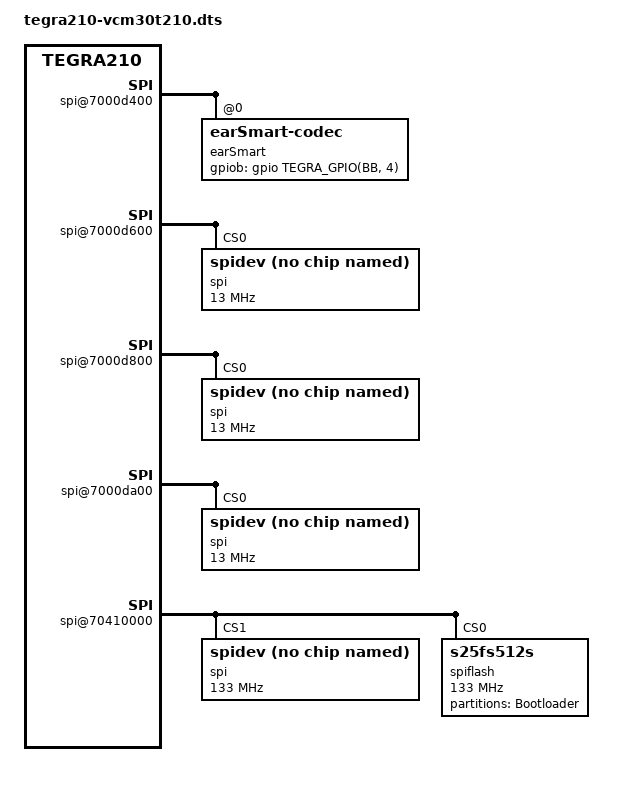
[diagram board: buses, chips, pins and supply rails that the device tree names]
/*
 * T210- DSC
 *
 * arch/arm64/boot/dts/tegra210-vcm30t210.dts
 *
 * Copyright (c) 2014, NVIDIA CORPORATION.  All rights reserved.
 *
 * This program is free software; you can redistribute it and/or modify
 * it under the terms of the GNU General Public License as published by
 * the Free Software Foundation; version 2 of the License.
 *
 * This program is distributed in the hope that it will be useful, but WITHOUT
 * ANY WARRANTY; without even the implied warranty of MERCHANTABILITY or
 * FITNESS FOR A PARTICULAR PURPOSE.  See the GNU General Public License for
 * more details.
 *
 * You should have received a copy of the GNU General Public License along
 * with this program; if not, write to the Free Software Foundation, Inc.,
 * 51 Franklin Street, Fifth Floor, Boston, MA  02110-1301, USA.
 *
 */

#include "tegra210-ers-e2220-1170-a00-00.dts"

/ {
	nvidia,dtsfilename = __FILE__;
	nvidia,fastboot-usb-pid = <0x7100>;

	spi@7000d400 {
		earSmart: earSmart-codec@0 {
			adnc,gpiob-gpio = <&gpio TEGRA_GPIO(BB, 4) GPIO_ACTIVE_HIGH>;
		};
	};

	spi@7000d600 {
		status = "okay";
		spi@0 {
			compatible = "spidev";
			reg = <0>;
			spi-max-frequency = <13000000>;
		};
	};
	spi@7000d800 {
		compatible = "nvidia,tegra210-spi-slave";
		status = "okay";
		spi@0 {
			compatible = "spidev";
			reg = <0>;
			spi-max-frequency = <13000000>;
		};
	};

	spi@7000da00 {
		status = "okay";
		spi@0 {
			compatible = "spidev";
			reg = <0>;
			spi-max-frequency = <13000000>;
		};
	};

	spi@70410000 {
		status = "okay";
		spi@0 {
			compatible = "spidev";
			reg = <1>;
			spi-max-frequency = <133000000>;

			controller-data {
				nvidia,x1-len-limit = <16>;
				nvidia,x1-bus-speed = <50>; /* In Mhz */
				nvidia,x1-dymmy-cycle = <0>;
				nvidia,x4-bus-speed = <80>;
				nvidia,x4-dymmy-cycle = <8>;
			};

		};

		spiflash@1 {
			#address-cells = <1>;
			#size-cells = <1>;
			compatible = "s25fs512s";
			reg = <0>;
			spi-max-frequency = <133000000>;
			partition@0 {
				label = "Bootloader";
				reg = <0x00000000 0x1000000>;
			};
			controller-data {
				nvidia,x1-len-limit = <16>;
				nvidia,x1-bus-speed = <50>; /* In Mhz */
				nvidia,x1-dymmy-cycle = <0>;
				nvidia,x4-bus-speed = <80>;
				nvidia,x4-dymmy-cycle = <8>;
			};
		};
	};

	pinmux: pinmux@700008d4 {
		pinmux_default: common {

			dvfs_pwm_pbb1 {
				nvidia,function = "spi3";
				nvidia,tristate = <TEGRA_PIN_DISABLE>;
				nvidia,enable-input = <TEGRA_PIN_ENABLE>;
			};

			dvfs_clk_pbb2 {
				nvidia,function = "spi3";
				nvidia,enable-input = <TEGRA_PIN_ENABLE>;
			};

			gpio_x1_aud_pbb3 {
				nvidia,function = "spi3";
				nvidia,enable-input = <TEGRA_PIN_ENABLE>;
			};

			gpio_x3_aud_pbb4 {
				nvidia,function = "spi3";
			};

			qspi_cs_n_pee1 {
				nvidia,enable-input = <TEGRA_PIN_ENABLE>;
			};

			qspi_io2_pee4 {
				nvidia,tristate = <TEGRA_PIN_DISABLE>;
				nvidia,enable-input = <TEGRA_PIN_ENABLE>;
			};
		};
	};

};
